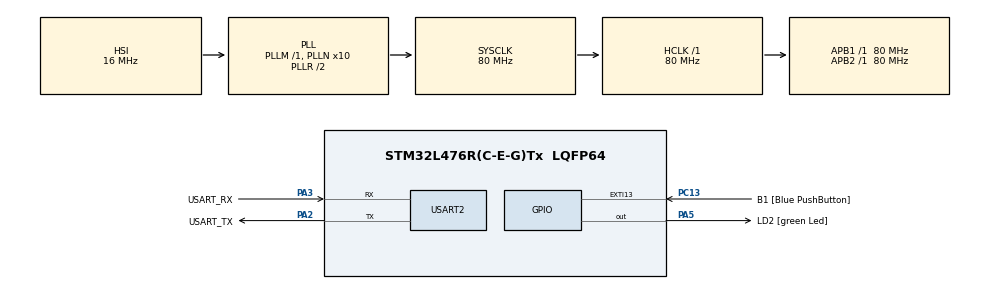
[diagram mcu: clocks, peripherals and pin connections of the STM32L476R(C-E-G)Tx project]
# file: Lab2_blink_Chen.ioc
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Mcu.Family=STM32L4
Mcu.Name=STM32L476R(C-E-G)Tx
Mcu.Package=LQFP64
NVIC.EXTI15_10_IRQn=true\:0\:0\:false\:false\:true\:true\:true\:true
NVIC.PriorityGroup=NVIC_PRIORITYGROUP_4
PA13\ (JTMS-SWDIO).GPIO_Label=TMS
PA13\ (JTMS-SWDIO).Mode=Serial_Wire
PA13\ (JTMS-SWDIO).Signal=SYS_JTMS-SWDIO
PA14\ (JTCK-SWCLK).GPIO_Label=TCK
PA14\ (JTCK-SWCLK).Mode=Serial_Wire
PA14\ (JTCK-SWCLK).Signal=SYS_JTCK-SWCLK
PA2.GPIO_Label=USART_TX
PA2.GPIO_Mode=GPIO_MODE_AF_PP
PA2.GPIO_PuPd=GPIO_NOPULL
PA2.GPIO_Speed=GPIO_SPEED_FREQ_VERY_HIGH
PA2.Mode=Asynchronous
PA2.Signal=USART2_TX
PA3.GPIO_Label=USART_RX
PA3.GPIO_Mode=GPIO_MODE_AF_PP
PA3.GPIO_PuPd=GPIO_NOPULL
PA3.GPIO_Speed=GPIO_SPEED_FREQ_VERY_HIGH
PA3.Mode=Asynchronous
PA3.Signal=USART2_RX
PA5.GPIO_Label=LD2 [green Led]
PA5.GPIO_ModeDefaultOutputPP=GPIO_MODE_OUTPUT_PP
PA5.GPIO_PuPd=GPIO_NOPULL
PA5.GPIO_Speed=GPIO_SPEED_FREQ_LOW
PA5.Signal=GPIO_Output
PB3\ (JTDO-TRACESWO).GPIO_Label=SWO
PB3\ (JTDO-TRACESWO).Signal=SYS_JTDO-SWO
PC13.GPIO_Label=B1 [Blue PushButton]
PC13.GPIO_ModeDefaultEXTI=GPIO_MODE_IT_FALLING
PC13.GPIO_PuPd=GPIO_PULLUP
PC13.Signal=GPXTI13
PC14-OSC32_IN\ (PC14).Mode=LSE-External-Oscillator
PC14-OSC32_IN\ (PC14).Signal=RCC_OSC32_IN
PC15-OSC32_OUT\ (PC15).Mode=LSE-External-Oscillator
PC15-OSC32_OUT\ (PC15).Signal=RCC_OSC32_OUT
PH0-OSC_IN\ (PH0).Signal=RCC_OSC_IN
PH1-OSC_OUT\ (PH1).Signal=RCC_OSC_OUT
ProjectManager.HeapSize=0x200
ProjectManager.StackSize=0x400
ProjectManager.TargetToolchain=STM32CubeIDE
RCC.ADCFreq_Value=64000000
RCC.AHBFreq_Value=80000000
RCC.APB1Freq_Value=80000000
RCC.APB1TimFreq_Value=80000000
RCC.APB2Freq_Value=80000000
RCC.APB2TimFreq_Value=80000000
RCC.CortexFreq_Value=80000000
RCC.HCLKFreq_Value=80000000
RCC.HSE_VALUE=8000000
RCC.HSI_VALUE=16000000
RCC.MSI_VALUE=4000000
RCC.PLLN=10
RCC.PLLSourceVirtual=RCC_PLLSOURCE_HSI
RCC.PREFETCH_ENABLE=1
RCC.SYSCLKFreq_VALUE=80000000
RCC.SYSCLKSource=RCC_SYSCLKSOURCE_PLLCLK
RCC.USBFreq_Value=64000000
RCC.VCOOutputFreq_Value=160000000
USART2.VirtualMode-Asynchronous=VM_ASYNC
board=NUCLEO-L476RG

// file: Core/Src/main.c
/* USER CODE BEGIN Header */
/**
  ******************************************************************************
  * @file           : main.c
  * @brief          : Main program body
  ******************************************************************************
  * @attention
  *
  * Copyright (c) 2025 STMicroelectronics.
  * All rights reserved.
  *
  * This software is licensed under terms that can be found in the LICENSE file
  * in the root directory of this software component.
  * If no LICENSE file comes with this software, it is provided AS-IS.
  *
  ******************************************************************************
  */
/* USER CODE END Header */
#include "main.h"

UART_HandleTypeDef huart2;

/* USER CODE BEGIN PV */
uint32_t blink_delay = 1000;   // Default delay in ms
uint32_t last_toggle = 0;        // Timestamp of last toggle
uint8_t first_input_done = 0;    // Flag to track if initial delay is entered
/* USER CODE END PV */

void SystemClock_Config(void);
static void MX_GPIO_Init(void);
static void MX_USART2_UART_Init(void);
/* USER CODE BEGIN PFP */
uint32_t UART_ReadNumber(void);
void UART_Transmit(char *message);
/* USER CODE END PFP */

int main(void)
{

  /* MCU Configuration--------------------------------------------------------*/

  /* Reset of all peripherals, Initializes the Flash interface and the Systick. */
  HAL_Init();

  /* Configure the system clock */
  SystemClock_Config();

  /* Initialize all configured peripherals */
  MX_GPIO_Init();
  MX_USART2_UART_Init();
  /* USER CODE BEGIN 2 */

  // Prompt user at startup
  UART_Transmit("Enter LED delay in ms: ");
  uint32_t new_delay = UART_ReadNumber();
  if(new_delay > 0) blink_delay = new_delay;
  UART_Transmit("\r\nBlinking LED...\r\n");
  /* USER CODE END 2 */

  /* Infinite loop */
  while (1)
  {

    /* USER CODE BEGIN 3 */
	uint32_t current_time = HAL_GetTick();

    // Non-blocking LED blink
    if(current_time - last_toggle >= blink_delay)
    {
        HAL_GPIO_TogglePin(LD2_GPIO_Port, LD2_Pin);
        last_toggle = current_time;

        if(HAL_GPIO_ReadPin(LD2_GPIO_Port, LD2_Pin) == GPIO_PIN_SET)
            UART_Transmit("LED ON\r\n");
        else
            UART_Transmit("LED OFF\r\n");
    }
  }
  /* USER CODE END 3 */
}

void SystemClock_Config(void)
{
  RCC_OscInitTypeDef RCC_OscInitStruct = {0};
  RCC_ClkInitTypeDef RCC_ClkInitStruct = {0};

  /** Configure the main internal regulator output voltage
  */
  if (HAL_PWREx_ControlVoltageScaling(PWR_REGULATOR_VOLTAGE_SCALE1) != HAL_OK)
  {
    Error_Handler();
  }

  /** Initializes the RCC Oscillators according to the specified parameters
  * in the RCC_OscInitTypeDef structure.
  */
  RCC_OscInitStruct.OscillatorType = RCC_OSCILLATORTYPE_HSI;
  RCC_OscInitStruct.HSIState = RCC_HSI_ON;
  RCC_OscInitStruct.HSICalibrationValue = RCC_HSICALIBRATION_DEFAULT;
  RCC_OscInitStruct.PLL.PLLState = RCC_PLL_ON;
  RCC_OscInitStruct.PLL.PLLSource = RCC_PLLSOURCE_HSI;
  RCC_OscInitStruct.PLL.PLLM = 1;
  RCC_OscInitStruct.PLL.PLLN = 10;
  RCC_OscInitStruct.PLL.PLLP = RCC_PLLP_DIV7;
  RCC_OscInitStruct.PLL.PLLQ = RCC_PLLQ_DIV2;
  RCC_OscInitStruct.PLL.PLLR = RCC_PLLR_DIV2;
  if (HAL_RCC_OscConfig(&RCC_OscInitStruct) != HAL_OK)
  {
    Error_Handler();
  }

  /** Initializes the CPU, AHB and APB buses clocks
  */
  RCC_ClkInitStruct.ClockType = RCC_CLOCKTYPE_HCLK|RCC_CLOCKTYPE_SYSCLK
                              |RCC_CLOCKTYPE_PCLK1|RCC_CLOCKTYPE_PCLK2;
  RCC_ClkInitStruct.SYSCLKSource = RCC_SYSCLKSOURCE_PLLCLK;
  RCC_ClkInitStruct.AHBCLKDivider = RCC_SYSCLK_DIV1;
  RCC_ClkInitStruct.APB1CLKDivider = RCC_HCLK_DIV1;
  RCC_ClkInitStruct.APB2CLKDivider = RCC_HCLK_DIV1;

  if (HAL_RCC_ClockConfig(&RCC_ClkInitStruct, FLASH_LATENCY_4) != HAL_OK)
  {
    Error_Handler();
  }
}

static void MX_USART2_UART_Init(void)
{

  huart2.Instance = USART2;
  huart2.Init.BaudRate = 115200;
  huart2.Init.WordLength = UART_WORDLENGTH_8B;
  huart2.Init.StopBits = UART_STOPBITS_1;
  huart2.Init.Parity = UART_PARITY_NONE;
  huart2.Init.Mode = UART_MODE_TX_RX;
  huart2.Init.HwFlowCtl = UART_HWCONTROL_NONE;
  huart2.Init.OverSampling = UART_OVERSAMPLING_16;
  huart2.Init.OneBitSampling = UART_ONE_BIT_SAMPLE_DISABLE;
  huart2.AdvancedInit.AdvFeatureInit = UART_ADVFEATURE_NO_INIT;
  if (HAL_UART_Init(&huart2) != HAL_OK)
  {
    Error_Handler();
  }

}

static void MX_GPIO_Init(void)
{
  GPIO_InitTypeDef GPIO_InitStruct = {0};

  /* GPIO Ports Clock Enable */
  __HAL_RCC_GPIOC_CLK_ENABLE();
  __HAL_RCC_GPIOH_CLK_ENABLE();
  __HAL_RCC_GPIOA_CLK_ENABLE();
  __HAL_RCC_GPIOB_CLK_ENABLE();

  /*Configure GPIO pin Output Level */
  HAL_GPIO_WritePin(LD2_GPIO_Port, LD2_Pin, GPIO_PIN_RESET);

  /*Configure GPIO pin : B1_Pin */
  GPIO_InitStruct.Pin = B1_Pin;
  GPIO_InitStruct.Mode = GPIO_MODE_IT_FALLING;
  GPIO_InitStruct.Pull = GPIO_PULLUP;
  HAL_GPIO_Init(B1_GPIO_Port, &GPIO_InitStruct);

  /*Configure GPIO pin : LD2_Pin */
  GPIO_InitStruct.Pin = LD2_Pin;
  GPIO_InitStruct.Mode = GPIO_MODE_OUTPUT_PP;
  GPIO_InitStruct.Pull = GPIO_NOPULL;
  GPIO_InitStruct.Speed = GPIO_SPEED_FREQ_LOW;
  HAL_GPIO_Init(LD2_GPIO_Port, &GPIO_InitStruct);

  /* EXTI interrupt init*/
  HAL_NVIC_SetPriority(EXTI15_10_IRQn, 0, 0);
  HAL_NVIC_EnableIRQ(EXTI15_10_IRQn);

}

/* USER CODE BEGIN 4 */
void UART_Transmit(char *message)
{
    HAL_UART_Transmit(&huart2, (uint8_t*)message, strlen(message), HAL_MAX_DELAY);
}

uint32_t UART_ReadNumber(void)
{
    char rx_buffer[10] = {0};
    uint8_t index = 0;
    uint8_t ch = 0;

    while(1)
    {
        HAL_UART_Receive(&huart2, &ch, 1, HAL_MAX_DELAY);
        if(ch == '\r') break; // Stop at Enter
        if(index < sizeof(rx_buffer)-1)
        {
            rx_buffer[index++] = ch;
            HAL_UART_Transmit(&huart2, &ch, 1, HAL_MAX_DELAY); // echo
        }
    }

    rx_buffer[index] = '\0';
    uint32_t value = atoi(rx_buffer);
    return value; // Returns the integer entered by user
}

void HAL_GPIO_EXTI_Callback(uint16_t GPIO_Pin)
{
    if(GPIO_Pin == B1_Pin)
    {
        UART_Transmit("Enter new LED delay in ms: ");
        uint32_t new_delay = UART_ReadNumber();
        if(new_delay > 0)
        {
            blink_delay = new_delay;
            UART_Transmit("\r\nDelay updated\r\n");
        }
    }
}

/* USER CODE END 4 */

void Error_Handler(void)
{
  __disable_irq();
  while (1)
  {
  }
}
